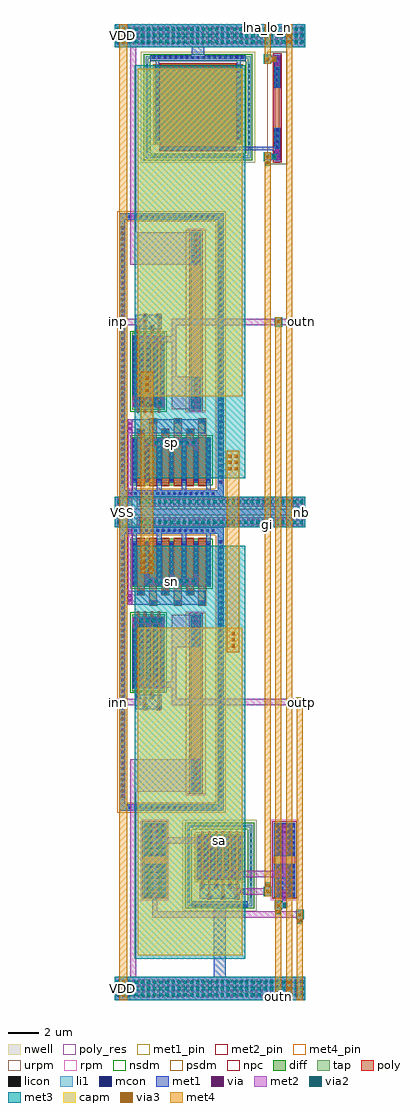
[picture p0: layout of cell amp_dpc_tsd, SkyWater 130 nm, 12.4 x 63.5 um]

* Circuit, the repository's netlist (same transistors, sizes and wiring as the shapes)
* amp_dpc_tsd: amp_dpc_ts with taps edge
* amp_dpc_ts: amp_dpc_t (layout/ref/amp_dpc_t.spice) + lna_shunt (a = outp, b = outn, g = lna_lo_n), the shunt as layout/gen/lna_chain.py writes it (amp_dpc_shunt_tall.py)
.subckt amp_dpc_tsd inp inn nb outp outn VDD VSS lna_lo_n
*.PININFO VDD:B VSS:B nb:B inp:B inn:B outp:B outn:B
XRl_p outn VDD VSS sky130_fd_pr__res_high_po_0p69 L=7.37736 mult=1
XMp outn inp sp VSS sky130_fd_pr__nfet_01v8 L=0.15 W=20 nf=4
XMtail_p sp nb VSS VSS sky130_fd_pr__nfet_01v8 L=0.5 W=6 nf=2 m=3
XRl_n outp VDD VSS sky130_fd_pr__res_high_po_0p69 L=7.37736 mult=1
XMn outp inn sn VSS sky130_fd_pr__nfet_01v8 L=0.15 W=20 nf=4
XMtail_n sn nb VSS VSS sky130_fd_pr__nfet_01v8 L=0.5 W=6 nf=2 m=3
XCs_a sn sp sky130_fd_pr__cap_mim_m3_1 W=6.8 L=21.33
XCs_b sp sn sky130_fd_pr__cap_mim_m3_1 W=6.8 L=21.33
XRh_a sa outp VSS sky130_fd_pr__res_high_po_1p41 L=0.62 mult=1
XRh_b outn sb VSS sky130_fd_pr__res_high_po_1p41 L=0.62 mult=1
XMsw sb gi sa VDD sky130_fd_pr__pfet_01v8 L=0.15 W=18 nf=6
XRg lna_lo_n gi VSS sky130_fd_pr__res_xhigh_po_0p35 L=2.71039 mult=1
XMcap VDD gi VDD VDD sky130_fd_pr__pfet_01v8 L=5 W=5 nf=1
.ends

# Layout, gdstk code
import gdstk
lib = gdstk.Library(unit=1e-6, precision=1e-09)
def R(c, l, rs):  # rectangles x0, y0, x1, y1
    for r in rs: c.add(gdstk.rectangle(r[:2], r[2:], *l))
def A(c, l, x, y, w, h, nx, ny, dx, dy):  # array of equal rectangles
    R(c, l, [(x+i*dx, y+j*dy, x+i*dx+w, y+j*dy+h) for i in range(nx) for j in range(ny)])
def P(c, l, *ps):  # polygons
    for p in ps: c.add(gdstk.Polygon(p, *l))
nwell = (64, 20)
diff = (65, 20)
tap = (65, 44)
poly_res = (66, 13)
poly = (66, 20)
licon = (66, 44)
li1 = (67, 20)
mcon = (67, 44)
met1_pin = (68, 16)
met1 = (68, 20)
via = (68, 44)
met2_pin = (69, 16)
met2 = (69, 20)
via2 = (69, 44)
met3 = (70, 20)
via3 = (70, 44)
met4_pin = (71, 16)
met4 = (71, 20)
urpm = (79, 20)
rpm = (86, 20)
capm = (89, 44)
nsdm = (93, 44)
psdm = (94, 20)
npc = (95, 20)

amp_dpc_tsd = lib.new_cell('amp_dpc_tsd')
R(amp_dpc_tsd, nwell, [(4.41,5.79,9.25,11.72), (1.7,54.47,9.14,61.7)])
R(amp_dpc_tsd, diff, [(5.33,7.775,8.33,10.775), (1.15,20.1,3.25,25.1), (1.15,26.88,6.25,29.88), (1.15,33.62,6.25,36.62), (1.15,38.4,3.25,43.4), (2.62,55.755,8.22,60.755)])
P(amp_dpc_tsd, tap, [(0.3,32.75),(0.3,50.78),(0.7,50.78),(0.7,33.15),(6.7,33.15),(6.7,50.78),(0.3,50.78),(0.3,51.18),(7.1,51.18),(7.1,32.75)],
  [(0.3,12.32),(0.3,30.35),(0.7,30.35),(0.7,12.72),(6.7,12.72),(6.7,30.35),(0.3,30.35),(0.3,30.75),(7.1,30.75),(7.1,12.32)],
  [(4.715,6.095),(4.715,11.245),(4.885,11.245),(4.885,6.265),(8.775,6.265),(8.775,11.245),(4.715,11.245),(4.715,11.415),(8.945,11.415),(8.945,6.095)],
  [(2.005,54.775),(2.005,61.225),(2.175,61.225),(2.175,54.945),(8.665,54.945),(8.665,61.225),(2.005,61.225),(2.005,61.395),(8.835,61.395),(8.835,54.775)])
R(amp_dpc_tsd, poly_res, [(1.9,8.8,3.31,9.42), (10.35,8.8,11.76,9.42), (4.94,15.62,5.63,23), (4.94,40.5,5.63,47.88), (10.4,56.69,10.75,59.4)])
A(amp_dpc_tsd, poly, 6.02, 6.545, 0.27, 0.33, 3, 1, 0.9, 0)
A(amp_dpc_tsd, poly, 6.08, 6.875, 0.15, 4.1, 3, 1, 0.9, 0)
A(amp_dpc_tsd, poly, 5.57, 7.245, 0.27, 0.33, 3, 1, 0.9, 0)
A(amp_dpc_tsd, poly, 5.63, 7.575, 0.15, 3.4, 3, 1, 0.9, 0)
A(amp_dpc_tsd, poly, 2.25, 25.65, 0.5, 0.33, 3, 2, 1.6, 11.87)
A(amp_dpc_tsd, poly, 2.25, 25.98, 0.5, 4.1, 3, 2, 1.6, 7.44)
A(amp_dpc_tsd, poly, 1.45, 26.35, 0.5, 0.33, 3, 2, 1.6, 10.47)
A(amp_dpc_tsd, poly, 1.45, 26.68, 0.5, 3.4, 3, 2, 1.6, 6.74)
R(amp_dpc_tsd, poly, [(1.9,6.7,3.31,11.52), (10.35,6.7,11.76,11.52), (4.94,13.52,5.63,25.1), (1.84,18.87,2.11,19.2), (2.74,18.87,3.01,19.2), (1.9,19.2,2.05,25.3), (2.8,19.2,2.95,25.3), (1.39,19.57,1.66,19.9), (2.29,19.57,2.56,19.9), (1.45,19.9,1.6,25.3), (2.35,19.9,2.5,25.3), (1.45,38.2,1.6,43.6), (1.9,38.2,2.05,44.3), (2.35,38.2,2.5,43.6), (2.8,38.2,2.95,44.3), (4.94,38.4,5.63,49.98), (1.39,43.6,1.66,43.93), (2.29,43.6,2.56,43.93), (1.84,44.3,2.11,44.63), (2.74,44.3,3.01,44.63), (10.4,54.59,10.75,61.5), (2.92,55.225,7.92,55.555), (2.92,55.555,7.92,60.955)])
A(amp_dpc_tsd, licon, 5.125, 6.095, 0.17, 0.17, 10, 2, 0.36, 5.15)
A(amp_dpc_tsd, licon, 6.07, 6.625, 0.17, 0.17, 3, 1, 0.9, 0)
A(amp_dpc_tsd, licon, 4.715, 6.69, 0.17, 0.17, 1, 12, 0, 0.36)
A(amp_dpc_tsd, licon, 8.775, 6.69, 0.17, 0.17, 1, 12, 0, 0.36)
A(amp_dpc_tsd, licon, 5.62, 7.325, 0.17, 0.17, 3, 1, 0.9, 0)
A(amp_dpc_tsd, licon, 5.395, 7.93, 0.17, 0.17, 4, 8, 0.45, 0.36)
A(amp_dpc_tsd, licon, 7.19, 7.93, 0.17, 0.17, 1, 8, 0, 0.36)
A(amp_dpc_tsd, licon, 7.64, 7.93, 0.17, 0.17, 1, 8, 0, 0.36)
A(amp_dpc_tsd, licon, 8.095, 7.93, 0.17, 0.17, 1, 8, 0, 0.36)
A(amp_dpc_tsd, licon, 0.915, 12.435, 0.17, 0.17, 16, 2, 0.36, 18.03)
A(amp_dpc_tsd, licon, 0.415, 13.17, 0.17, 0.17, 1, 47, 0, 0.36)
A(amp_dpc_tsd, licon, 6.815, 13.17, 0.17, 0.17, 1, 47, 0, 0.36)
A(amp_dpc_tsd, licon, 1.215, 20.355, 0.17, 0.17, 5, 13, 0.45, 0.36)
A(amp_dpc_tsd, licon, 2.415, 25.73, 0.17, 0.17, 3, 2, 1.6, 11.87)
A(amp_dpc_tsd, licon, 1.615, 26.43, 0.17, 0.17, 3, 2, 1.6, 10.47)
A(amp_dpc_tsd, licon, 1.215, 27.035, 0.17, 0.17, 7, 8, 0.8, 0.36)
A(amp_dpc_tsd, licon, 0.915, 32.865, 0.17, 0.17, 16, 2, 0.36, 18.03)
A(amp_dpc_tsd, licon, 0.415, 33.6, 0.17, 0.17, 1, 47, 0, 0.36)
A(amp_dpc_tsd, licon, 6.815, 33.6, 0.17, 0.17, 1, 47, 0, 0.36)
A(amp_dpc_tsd, licon, 1.215, 33.775, 0.17, 0.17, 7, 8, 0.8, 0.36)
A(amp_dpc_tsd, licon, 1.215, 38.655, 0.17, 0.17, 5, 13, 0.45, 0.36)
A(amp_dpc_tsd, licon, 2.455, 54.775, 0.17, 0.17, 17, 2, 0.36, 6.45)
A(amp_dpc_tsd, licon, 2.005, 55.3, 0.17, 0.17, 1, 16, 0, 0.36)
A(amp_dpc_tsd, licon, 8.665, 55.3, 0.17, 0.17, 1, 16, 0, 0.36)
A(amp_dpc_tsd, licon, 2.995, 55.305, 0.17, 0.17, 14, 1, 0.36, 0)
A(amp_dpc_tsd, licon, 2.685, 56.01, 0.17, 0.17, 1, 13, 0, 0.36)
A(amp_dpc_tsd, licon, 7.985, 56.01, 0.17, 0.17, 1, 13, 0, 0.36)
R(amp_dpc_tsd, licon, [(2.155,6.78,2.345,8.78), (2.865,6.78,3.055,8.78), (10.605,6.78,10.795,8.78), (11.315,6.78,11.505,8.78), (2.155,9.44,2.345,11.44), (2.865,9.44,3.055,11.44), (10.605,9.44,10.795,11.44), (11.315,9.44,11.505,11.44), (5.19,13.6,5.38,15.6), (1.89,18.95,2.06,19.12), (2.79,18.95,2.96,19.12), (1.44,19.65,1.61,19.82), (2.34,19.65,2.51,19.82), (5.19,23.02,5.38,25.02), (5.19,38.48,5.38,40.48), (1.44,43.68,1.61,43.85), (2.34,43.68,2.51,43.85), (1.89,44.38,2.06,44.55), (2.79,44.38,2.96,44.55), (5.19,47.9,5.38,49.9), (10.48,54.67,10.67,56.67), (10.48,59.42,10.67,61.42)])
A(amp_dpc_tsd, li1, 5.99, 6.625, 0.33, 0.17, 3, 1, 0.9, 0)
A(amp_dpc_tsd, li1, 5.54, 7.325, 0.33, 0.17, 3, 1, 0.9, 0)
A(amp_dpc_tsd, li1, 5.395, 7.85, 0.17, 2.85, 4, 1, 0.45, 0)
A(amp_dpc_tsd, li1, 1.215, 20.275, 0.17, 4.65, 5, 2, 0.45, 18.3)
A(amp_dpc_tsd, li1, 2.335, 25.73, 0.33, 0.17, 3, 2, 1.6, 11.87)
A(amp_dpc_tsd, li1, 1.535, 26.43, 0.33, 0.17, 3, 2, 1.6, 10.47)
A(amp_dpc_tsd, li1, 1.215, 26.955, 0.17, 2.85, 7, 2, 0.8, 6.74)
R(amp_dpc_tsd, li1, [(1.9,6.7,3.31,8.86), (10.35,6.7,11.76,8.86), (7.19,7.85,7.36,10.7), (7.64,7.85,7.81,10.7), (8.095,7.85,8.265,10.7), (1.9,9.36,3.31,11.52), (10.35,9.36,11.76,11.52), (4.94,13.52,5.63,15.68), (1.81,18.95,2.14,19.12), (2.71,18.95,3.04,19.12), (1.36,19.65,1.69,19.82), (2.26,19.65,2.59,19.82), (4.94,22.94,5.63,25.1), (4.94,38.4,5.63,40.56), (1.36,43.68,1.69,43.85), (2.26,43.68,2.59,43.85), (1.81,44.38,2.14,44.55), (2.71,44.38,3.04,44.55), (4.94,47.82,5.63,49.98), (10.4,54.59,10.75,56.75), (2.915,55.305,7.925,55.475), (2.685,55.93,2.855,60.58), (7.985,55.93,8.155,60.58), (10.4,59.34,10.75,61.5)])
P(amp_dpc_tsd, li1, [(0.3,32.75),(0.3,50.78),(0.7,50.78),(0.7,33.15),(6.7,33.15),(6.7,50.78),(0.3,50.78),(0.3,51.18),(7.1,51.18),(7.1,32.75)],
  [(0.3,12.32),(0.3,30.35),(0.7,30.35),(0.7,12.72),(6.7,12.72),(6.7,30.35),(0.3,30.35),(0.3,30.75),(7.1,30.75),(7.1,12.32)],
  [(4.715,6.095),(4.715,11.245),(4.885,11.245),(4.885,6.265),(8.775,6.265),(8.775,11.245),(4.715,11.245),(4.715,11.415),(8.945,11.415),(8.945,6.095)],
  [(2.005,54.775),(2.005,61.225),(2.175,61.225),(2.175,54.945),(8.665,54.945),(8.665,61.225),(2.005,61.225),(2.005,61.395),(8.835,61.395),(8.835,54.775)])
A(amp_dpc_tsd, mcon, 5.125, 6.095, 0.17, 0.17, 10, 1, 0.36, 0)
A(amp_dpc_tsd, mcon, 6.07, 6.625, 0.17, 0.17, 3, 1, 0.9, 0)
A(amp_dpc_tsd, mcon, 1.98, 6.795, 0.17, 0.17, 4, 6, 0.36, 0.36)
A(amp_dpc_tsd, mcon, 10.43, 6.795, 0.17, 0.17, 4, 6, 0.36, 0.36)
A(amp_dpc_tsd, mcon, 5.62, 7.325, 0.17, 0.17, 3, 1, 0.9, 0)
A(amp_dpc_tsd, mcon, 5.395, 7.93, 0.17, 0.17, 4, 8, 0.45, 0.36)
A(amp_dpc_tsd, mcon, 7.19, 7.93, 0.17, 0.17, 1, 8, 0, 0.36)
A(amp_dpc_tsd, mcon, 7.64, 7.93, 0.17, 0.17, 1, 8, 0, 0.36)
A(amp_dpc_tsd, mcon, 8.095, 7.93, 0.17, 0.17, 1, 8, 0, 0.36)
A(amp_dpc_tsd, mcon, 1.98, 9.45, 0.17, 0.17, 4, 6, 0.36, 0.36)
A(amp_dpc_tsd, mcon, 10.43, 9.45, 0.17, 0.17, 4, 6, 0.36, 0.36)
A(amp_dpc_tsd, mcon, 0.915, 12.435, 0.17, 0.17, 16, 2, 0.36, 18.03)
A(amp_dpc_tsd, mcon, 0.415, 13.17, 0.17, 0.17, 1, 47, 0, 0.36)
A(amp_dpc_tsd, mcon, 6.815, 13.17, 0.17, 0.17, 1, 47, 0, 0.36)
A(amp_dpc_tsd, mcon, 5.02, 13.615, 0.17, 0.17, 1, 6, 0, 0.36)
A(amp_dpc_tsd, mcon, 5.38, 13.615, 0.17, 0.17, 1, 6, 0, 0.36)
A(amp_dpc_tsd, mcon, 1.215, 20.355, 0.17, 0.17, 5, 13, 0.45, 0.36)
A(amp_dpc_tsd, mcon, 5.02, 23.03, 0.17, 0.17, 1, 6, 0, 0.36)
A(amp_dpc_tsd, mcon, 5.38, 23.03, 0.17, 0.17, 1, 6, 0, 0.36)
A(amp_dpc_tsd, mcon, 2.415, 25.73, 0.17, 0.17, 3, 2, 1.6, 11.87)
A(amp_dpc_tsd, mcon, 1.615, 26.43, 0.17, 0.17, 3, 2, 1.6, 10.47)
A(amp_dpc_tsd, mcon, 1.215, 27.035, 0.17, 0.17, 7, 8, 0.8, 0.36)
A(amp_dpc_tsd, mcon, 0.915, 32.865, 0.17, 0.17, 16, 2, 0.36, 18.03)
A(amp_dpc_tsd, mcon, 0.415, 33.6, 0.17, 0.17, 1, 47, 0, 0.36)
A(amp_dpc_tsd, mcon, 6.815, 33.6, 0.17, 0.17, 1, 47, 0, 0.36)
A(amp_dpc_tsd, mcon, 1.215, 33.775, 0.17, 0.17, 7, 8, 0.8, 0.36)
A(amp_dpc_tsd, mcon, 5.02, 38.5, 0.17, 0.17, 1, 6, 0, 0.36)
A(amp_dpc_tsd, mcon, 5.38, 38.5, 0.17, 0.17, 1, 6, 0, 0.36)
A(amp_dpc_tsd, mcon, 1.215, 38.655, 0.17, 0.17, 5, 13, 0.45, 0.36)
A(amp_dpc_tsd, mcon, 5.02, 47.915, 0.17, 0.17, 1, 6, 0, 0.36)
A(amp_dpc_tsd, mcon, 5.38, 47.915, 0.17, 0.17, 1, 6, 0, 0.36)
A(amp_dpc_tsd, mcon, 10.49, 54.685, 0.17, 0.17, 1, 6, 0, 0.36)
A(amp_dpc_tsd, mcon, 2.995, 55.305, 0.17, 0.17, 14, 1, 0.36, 0)
A(amp_dpc_tsd, mcon, 2.685, 56.01, 0.17, 0.17, 1, 13, 0, 0.36)
A(amp_dpc_tsd, mcon, 7.985, 56.01, 0.17, 0.17, 1, 13, 0, 0.36)
A(amp_dpc_tsd, mcon, 10.49, 59.43, 0.17, 0.17, 1, 6, 0, 0.36)
A(amp_dpc_tsd, mcon, 2.455, 61.225, 0.17, 0.17, 17, 1, 0.36, 0)
R(amp_dpc_tsd, mcon, [(1.89,18.95,2.06,19.12), (2.79,18.95,2.96,19.12), (1.44,19.65,1.61,19.82), (2.34,19.65,2.51,19.82), (1.44,43.68,1.61,43.85), (2.34,43.68,2.51,43.85), (1.89,44.38,2.06,44.55), (2.79,44.38,2.96,44.55)])
R(amp_dpc_tsd, met1_pin, [(0,0,1,1.5), (0,30.75,1,32.75), (0,62,1,63.5)])
A(amp_dpc_tsd, met1, 5.365, 7.87, 0.23, 2.81, 4, 1, 0.45, 0)
A(amp_dpc_tsd, met1, 1.185, 20.295, 0.23, 4.61, 5, 2, 0.45, 18.3)
A(amp_dpc_tsd, met1, 1.17, 24.21, 0.26, 0.64, 3, 2, 0.9, 14.44)
A(amp_dpc_tsd, met1, 1.15, 24.48, 0.3, 0.42, 3, 2, 0.9, 14.12)
A(amp_dpc_tsd, met1, 2.315, 25.7, 0.37, 0.23, 3, 2, 1.6, 11.87)
A(amp_dpc_tsd, met1, 1.515, 26.4, 0.37, 0.23, 3, 2, 1.6, 10.47)
A(amp_dpc_tsd, met1, 1.15, 26.975, 0.3, 3.385, 4, 2, 1.6, 6.165)
A(amp_dpc_tsd, met1, 1.185, 26.975, 0.23, 2.81, 7, 2, 0.8, 6.74)
A(amp_dpc_tsd, met1, 1.95, 27.03, 0.3, 0.42, 3, 2, 1.6, 9.02)
A(amp_dpc_tsd, met1, 1.97, 27.08, 0.26, 0.64, 3, 2, 1.6, 8.7)
R(amp_dpc_tsd, met1, [(0,0,12.4,1.5), (6.43,1.49,7.23,6.425), (5.015,6.035,8.645,6.425), (2.475,6.5,2.735,7.14), (10.925,6.5,11.185,7.14), (5.52,6.595,8.135,7.525), (5.97,6.595,6.34,6.825), (6.87,6.595,7.235,6.825), (7.77,6.595,8.135,6.825), (1.9,6.73,3.31,8.835), (1.95,6.73,3.26,8.835), (10.35,6.73,11.76,8.835), (10.4,6.73,11.71,8.835), (7.775,6.93,8.415,7.19), (5.52,7.295,5.89,7.525), (6.42,7.295,6.785,7.525), (7.32,7.295,7.685,7.525), (7.16,7.87,7.39,10.68), (7.61,7.87,7.84,10.68), (8.065,7.87,8.295,10.68), (5.78,7.975,6.08,8.395), (6.68,7.975,6.98,8.395), (7.575,7.975,7.875,8.395), (5.8,8.025,6.06,8.665), (6.7,8.025,6.96,8.665), (7.595,8.025,7.855,8.665), (1.9,9.385,3.31,11.49), (1.95,9.385,3.26,11.49), (10.35,9.385,11.76,11.49), (10.4,9.385,11.71,11.49), (5.35,9.885,5.61,10.525), (6.25,9.885,6.51,10.525), (7.145,9.885,7.405,10.525), (8.05,9.885,8.31,10.525), (5.33,10.155,5.63,10.575), (6.23,10.155,6.53,10.575), (7.125,10.155,7.425,10.575), (8.03,10.155,8.33,10.575), (2.475,10.76,2.735,11.4), (10.925,10.76,11.185,11.4), (4.99,13.555,5.58,15.655), (5.035,13.555,5.535,15.655), (1.34,18.92,3.055,19.85), (1.79,18.92,2.16,19.15), (2.69,18.92,3.055,19.15), (1.43,19.255,2.07,19.515), (1.34,19.62,1.71,19.85), (2.24,19.62,2.605,19.85), (1.6,20.3,1.9,20.72), (2.5,20.3,2.8,20.72), (1.62,20.35,1.88,20.99), (2.52,20.35,2.78,20.99), (4.99,22.965,5.58,25.065), (5.035,22.965,5.535,25.065), (0.85,25.7,5.885,26.63), (0,30.75,12.4,32.75), (0.85,36.87,5.885,37.8), (4.99,38.435,5.58,40.535), (5.035,38.435,5.535,40.535), (1.62,42.51,1.88,43.15), (2.52,42.51,2.78,43.15), (1.6,42.78,1.9,43.2), (2.5,42.78,2.8,43.2), (1.34,43.65,1.71,43.88), (1.34,43.65,3.055,44.58), (2.24,43.65,2.605,43.88), (1.43,43.985,2.07,44.245), (1.79,44.35,2.16,44.58), (2.69,44.35,3.055,44.58), (4.99,47.845,5.58,49.945), (5.035,47.845,5.535,49.945), (10.375,54.62,10.775,56.725), (10.425,54.62,10.725,56.725), (10.45,54.62,10.7,56.725), (10.445,54.71,10.705,55.35), (2.935,55.275,7.905,55.505), (2.935,55.275,10.725,55.505), (2.655,55.95,2.885,60.56), (7.955,55.95,8.185,60.56), (10.375,59.365,10.775,61.47), (10.45,59.365,10.7,61.47), (2.655,60.46,2.885,61.455), (7.955,60.46,8.185,61.455), (10.445,60.74,10.705,61.38), (2.305,61.065,8.535,61.455), (5.02,61.065,5.82,62.01), (0,62,12.4,63.5)])
P(amp_dpc_tsd, met1, [(0.3,32.75),(0.3,50.78),(0.7,50.78),(0.7,33.15),(6.7,33.15),(6.7,50.78),(0.3,50.78),(0.3,51.18),(7.1,51.18),(7.1,32.75)],
  [(0.3,12.32),(0.3,30.35),(0.7,30.35),(0.7,12.72),(6.7,12.72),(6.7,30.35),(0.3,30.35),(0.3,30.75),(7.1,30.75),(7.1,12.32)])
A(amp_dpc_tsd, via, 0.205, 0.195, 0.15, 0.15, 38, 4, 0.32, 0.32)
A(amp_dpc_tsd, via, 5.21, 13.73, 0.15, 0.15, 1, 6, 0, 0.32)
A(amp_dpc_tsd, via, 5.21, 23.14, 0.15, 0.15, 1, 6, 0, 0.32)
A(amp_dpc_tsd, via, 1.225, 24.295, 0.15, 0.15, 3, 2, 0.9, 0.32)
A(amp_dpc_tsd, via, 2.025, 27.165, 0.15, 0.15, 3, 2, 1.6, 0.32)
A(amp_dpc_tsd, via, 1.57, 30.845, 0.15, 0.15, 34, 2, 0.32, 0.32)
A(amp_dpc_tsd, via, 1.57, 32.185, 0.15, 0.15, 34, 2, 0.32, 0.32)
A(amp_dpc_tsd, via, 2.025, 35.865, 0.15, 0.15, 3, 2, 1.6, 0.32)
A(amp_dpc_tsd, via, 5.21, 38.61, 0.15, 0.15, 1, 6, 0, 0.32)
A(amp_dpc_tsd, via, 1.225, 38.735, 0.15, 0.15, 3, 2, 0.9, 0.32)
A(amp_dpc_tsd, via, 5.21, 48.02, 0.15, 0.15, 1, 6, 0, 0.32)
A(amp_dpc_tsd, via, 0.205, 62.195, 0.15, 0.15, 38, 4, 0.32, 0.32)
R(amp_dpc_tsd, via, [(2.53,6.585,2.68,6.735), (10.98,6.585,11.13,6.735), (2.53,6.905,2.68,7.055), (10.98,6.905,11.13,7.055), (7.86,6.985,8.01,7.135), (8.18,6.985,8.33,7.135), (5.855,8.11,6.005,8.26), (6.755,8.11,6.905,8.26), (7.65,8.11,7.8,8.26), (5.855,8.43,6.005,8.58), (6.755,8.43,6.905,8.58), (7.65,8.43,7.8,8.58), (5.405,9.97,5.555,10.12), (6.305,9.97,6.455,10.12), (7.2,9.97,7.35,10.12), (8.105,9.97,8.255,10.12), (5.405,10.29,5.555,10.44), (6.305,10.29,6.455,10.44), (7.2,10.29,7.35,10.44), (8.105,10.29,8.255,10.44), (2.53,10.845,2.68,10.995), (10.98,10.845,11.13,10.995), (2.53,11.165,2.68,11.315), (10.98,11.165,11.13,11.315), (1.515,19.31,1.665,19.46), (1.835,19.31,1.985,19.46), (1.675,20.435,1.825,20.585), (2.575,20.435,2.725,20.585), (1.675,20.755,1.825,20.905), (2.575,20.755,2.725,20.905), (0.925,25.93,1.075,26.08), (0.925,26.25,1.075,26.4), (0.2,30.845,0.35,30.995), (0.2,31.165,0.35,31.315), (0.2,32.185,0.35,32.335), (0.2,32.505,0.35,32.655), (0.925,37.1,1.075,37.25), (0.925,37.42,1.075,37.57), (1.675,42.595,1.825,42.745), (2.575,42.595,2.725,42.745), (1.675,42.915,1.825,43.065), (2.575,42.915,2.725,43.065), (1.515,44.04,1.665,44.19), (1.835,44.04,1.985,44.19), (10.5,54.795,10.65,54.945), (10.5,55.115,10.65,55.265), (10.5,60.825,10.65,60.975), (10.5,61.145,10.65,61.295)])
A(amp_dpc_tsd, met2_pin, 0, 19.185, 0.5, 0.4, 1, 3, 0, 12.365)
A(amp_dpc_tsd, met2_pin, 11.9, 19.185, 0.5, 0.4, 1, 3, 0, 12.365)
A(amp_dpc_tsd, met2, 1.17, 24.21, 0.26, 0.64, 3, 2, 0.9, 14.44)
A(amp_dpc_tsd, met2, 1.97, 27.08, 0.26, 0.64, 3, 2, 1.6, 8.7)
R(amp_dpc_tsd, met2, [(0,0,12.4,1.5), (1,1.49,1.4,15.655), (11.91,4.975,12.19,5.745), (2.455,5.36,2.755,7.18), (2.455,5.36,12.3,5.76), (10.4,5.96,11.205,6.36), (10.905,5.96,11.205,7.18), (10.51,5.975,11.19,6.345), (2.475,6.5,2.735,7.14), (10.925,6.5,11.185,7.14), (7.735,6.86,10.2,7.26), (9.81,6.875,10.09,7.645), (7.775,6.93,8.415,7.19), (5.33,7.975,11.205,8.395), (10.905,7.975,11.205,11.44), (5.8,8.025,6.06,8.665), (6.7,8.025,6.96,8.665), (7.595,8.025,7.855,8.665), (5.35,9.885,5.61,10.525), (6.25,9.885,6.51,10.525), (7.145,9.885,7.405,10.525), (8.05,9.885,8.31,10.525), (2.455,10.155,8.33,10.575), (2.455,10.155,2.755,11.44), (2.475,10.76,2.735,11.4), (10.925,10.76,11.185,11.4), (1,13.555,5.535,15.655), (0,19.185,1.84,19.585), (3.7,19.185,12.4,19.585), (3.7,19.185,4,25.065), (1.43,19.255,2.07,19.515), (1.6,20.3,4,20.72), (1.62,20.35,1.88,20.99), (2.52,20.35,2.78,20.99), (3.7,22.965,5.535,25.065), (1.15,24.48,3.25,24.9), (0.85,25.7,1.15,31.75), (1.95,27.03,5.45,27.45), (0,30.75,0.55,31.41), (1.45,30.75,12.4,31.41), (0,31.55,12.4,31.95), (0.85,31.75,1.15,37.8), (0,32.09,0.55,32.75), (1.45,32.09,12.4,32.75), (1.95,36.05,5.45,36.47), (3.7,38.435,5.535,40.535), (3.7,38.435,4,44.315), (1.15,38.6,3.25,39.02), (1.62,42.51,1.88,43.15), (2.52,42.51,2.78,43.15), (1.6,42.78,4,43.2), (0,43.915,1.84,44.315), (3.7,43.915,12.4,44.315), (1.43,43.985,2.07,44.245), (1,47.845,5.535,49.945), (1,47.845,1.4,62.01), (9.7,54.67,10.725,55.07), (9.81,54.685,10.49,55.055), (10.445,54.71,10.705,55.35), (10.445,60.74,10.705,61.38), (9.7,61.02,10.725,61.42), (10.425,61.02,10.725,61.42), (9.81,61.035,10.49,61.405), (0,62,12.4,63.5)])
A(amp_dpc_tsd, via2, 0.1, 0.25, 0.2, 0.2, 31, 3, 0.4, 0.4)
A(amp_dpc_tsd, via2, 1.625, 24.59, 0.2, 0.2, 4, 2, 0.4, 14.12)
A(amp_dpc_tsd, via2, 2.2, 27.14, 0.2, 0.2, 8, 2, 0.4, 9.02)
A(amp_dpc_tsd, via2, 1.625, 30.98, 0.2, 0.2, 27, 2, 0.4, 1.34)
A(amp_dpc_tsd, via2, 0.1, 62.25, 0.2, 0.2, 31, 3, 0.4, 0.4)
R(amp_dpc_tsd, via2, [(11.95,5.06,12.15,5.26), (11.95,5.46,12.15,5.66), (10.55,6.06,10.75,6.26), (10.95,6.06,11.15,6.26), (9.85,6.96,10.05,7.16), (9.85,7.36,10.05,7.56), (11.95,19.285,12.15,19.485), (0.175,30.98,0.375,31.18), (0.175,32.32,0.375,32.52), (10.55,44.015,10.75,44.215), (9.85,54.77,10.05,54.97), (10.25,54.77,10.45,54.97), (9.85,61.12,10.05,61.32), (10.25,61.12,10.45,61.32)])
R(amp_dpc_tsd, met3, [(0,0,12.4,1.5), (1.3,2.7,8.5,29.55), (11.89,4.97,12.21,5.75), (11.885,4.995,12.215,5.725), (11.8,5.26,12.3,5.86), (10.49,5.57,10.81,6.35), (10.4,5.86,10.9,6.46), (10.485,5.995,11.215,6.325), (9.7,6.76,10.2,7.36), (9.79,6.87,10.11,7.65), (9.785,6.895,10.115,7.625), (11.8,19.085,12.3,19.685), (0,30.75,12.4,32.75), (1.3,33.95,8.5,60.8), (10.4,43.815,10.9,44.415), (9.79,54.28,10.11,55.06), (9.7,54.57,10.2,55.17), (9.785,54.705,10.515,55.035), (9.7,60.92,10.2,61.52), (9.785,61.055,10.515,61.385), (9.76,61.06,10.54,61.38), (0,62,12.4,63.5)])
A(amp_dpc_tsd, via3, 0.45, 0.25, 0.2, 0.2, 1, 3, 0, 0.4)
A(amp_dpc_tsd, via3, 11.25, 0.25, 0.2, 0.2, 1, 3, 0, 0.4)
A(amp_dpc_tsd, via3, 7.6, 22.93, 0.2, 0.2, 1, 3, 0, 0.4)
A(amp_dpc_tsd, via3, 1.8, 28.025, 0.2, 0.2, 1, 3, 0, 0.4)
A(amp_dpc_tsd, via3, 2.2, 28.025, 0.2, 0.2, 1, 3, 0, 0.4)
A(amp_dpc_tsd, via3, 7.4, 34.475, 0.2, 0.2, 1, 3, 0, 0.4)
A(amp_dpc_tsd, via3, 7.8, 34.475, 0.2, 0.2, 1, 3, 0, 0.4)
A(amp_dpc_tsd, via3, 2, 39.57, 0.2, 0.2, 1, 3, 0, 0.4)
A(amp_dpc_tsd, via3, 0.45, 62.25, 0.2, 0.2, 1, 3, 0, 0.4)
A(amp_dpc_tsd, via3, 11.25, 62.25, 0.2, 0.2, 1, 3, 0, 0.4)
R(amp_dpc_tsd, via3, [(11.95,5.06,12.15,5.26), (11.95,5.46,12.15,5.66), (10.55,5.66,10.75,5.86), (10.55,6.06,10.75,6.26), (9.85,6.96,10.05,7.16), (9.85,7.36,10.05,7.56), (11.95,19.285,12.15,19.485), (10.55,44.015,10.75,44.215), (9.85,54.37,10.05,54.57), (9.85,54.77,10.05,54.97), (9.85,61.12,10.05,61.32), (10.25,61.12,10.45,61.32)])
R(amp_dpc_tsd, met4_pin, [(10.45,0,10.85,0.5), (11.85,0,12.25,0.5), (9.75,63,10.15,63.5)])
R(amp_dpc_tsd, met4, [(0.3,0,0.8,63.5), (10.45,0,10.85,44.415), (11.15,0,11.55,63.5), (11.85,0,12.25,19.685), (11.885,4.995,12.215,5.725), (10.485,5.595,10.815,6.325), (9.75,6.76,10.15,55.17), (9.785,6.895,10.115,7.625), (7.3,22.63,8.1,35.75), (1.7,27.75,2.5,40.87), (9.785,54.305,10.115,55.035), (9.75,60.92,10.15,63.5), (9.785,61.055,10.515,61.385)])
R(amp_dpc_tsd, urpm, [(9.94,54.39,11.21,61.7)])
R(amp_dpc_tsd, rpm, [(1.7,6.5,3.51,11.72), (10.15,6.5,11.96,11.72), (4.635,13.32,5.935,25.3), (4.65,13.32,5.92,25.3), (4.635,38.2,5.935,50.18), (4.65,38.2,5.92,50.18)])
R(amp_dpc_tsd, capm, [(1.5,2.9,8.3,24.23), (1.5,39.27,8.3,60.6)])
R(amp_dpc_tsd, nsdm, [(1.025,19.975,3.375,25.225), (1.025,26.755,6.375,30.005), (1.025,33.495,6.375,36.745), (1.025,38.275,3.375,43.525)])
P(amp_dpc_tsd, nsdm, [(4.59,5.97),(4.59,11.12),(5.01,11.12),(5.01,6.39),(8.65,6.39),(8.65,11.12),(4.59,11.12),(4.59,11.54),(9.07,11.54),(9.07,5.97)],
  [(1.88,54.65),(1.88,61.1),(2.3,61.1),(2.3,55.07),(8.54,55.07),(8.54,61.1),(1.88,61.1),(1.88,61.52),(8.96,61.52),(8.96,54.65)])
R(amp_dpc_tsd, psdm, [(1.79,6.59,3.42,11.63), (10.24,6.59,11.87,11.63), (5.205,7.65,8.455,10.9), (4.635,13.41,5.935,25.21), (4.83,13.41,5.74,25.21), (4.635,38.29,5.935,50.09), (4.83,38.29,5.74,50.09), (10.29,54.48,10.86,61.61), (2.495,55.63,8.345,60.88)])
P(amp_dpc_tsd, psdm, [(0.175,32.625),(0.175,50.655),(0.825,50.655),(0.825,33.275),(6.575,33.275),(6.575,50.655),(0.175,50.655),(0.175,51.305),(7.225,51.305),(7.225,32.625)],
  [(0.175,12.195),(0.175,30.225),(0.825,30.225),(0.825,12.845),(6.575,12.845),(6.575,30.225),(0.175,30.225),(0.175,30.875),(7.225,30.875),(7.225,12.195)])
A(amp_dpc_tsd, npc, 6.01, 6.535, 0.29, 0.35, 3, 1, 0.9, 0)
A(amp_dpc_tsd, npc, 5.56, 7.235, 0.29, 0.35, 3, 1, 0.9, 0)
A(amp_dpc_tsd, npc, 2.24, 25.64, 0.52, 0.35, 3, 2, 1.6, 11.87)
A(amp_dpc_tsd, npc, 1.44, 26.34, 0.52, 0.35, 3, 2, 1.6, 10.47)
R(amp_dpc_tsd, npc, [(1.805,6.605,3.405,11.615), (10.255,6.605,11.855,11.615), (4.845,13.43,5.725,25.19), (1.83,18.86,2.12,19.21), (2.73,18.86,3.02,19.21), (1.38,19.56,1.67,19.91), (2.28,19.56,2.57,19.91), (4.845,38.31,5.725,50.07), (1.38,43.59,1.67,43.94), (2.28,43.59,2.57,43.94), (1.83,44.29,2.12,44.64), (2.73,44.29,3.02,44.64), (10.305,54.495,10.845,61.595), (2.91,55.215,7.93,55.565)])
amp_dpc_tsd.add(gdstk.Label('VSS', (0.5,31.75), layer=68, texttype=5))
amp_dpc_tsd.add(gdstk.Label('VDD', (0.5,62.75), layer=68, texttype=5))
amp_dpc_tsd.add(gdstk.Label('VDD', (0.5,0.75), layer=68, texttype=5))
amp_dpc_tsd.add(gdstk.Label('nb', (0.25,31.75), layer=69, texttype=5))
amp_dpc_tsd.add(gdstk.Label('nb', (12.15,31.75), layer=69, texttype=5))
amp_dpc_tsd.add(gdstk.Label('inp', (0.25,44.115), layer=69, texttype=5))
amp_dpc_tsd.add(gdstk.Label('outn', (12.15,44.115), layer=69, texttype=5))
amp_dpc_tsd.add(gdstk.Label('sp', (3.7,36.26), layer=69, texttype=5))
amp_dpc_tsd.add(gdstk.Label('inn', (0.25,19.385), layer=69, texttype=5))
amp_dpc_tsd.add(gdstk.Label('outp', (12.15,19.385), layer=69, texttype=5))
amp_dpc_tsd.add(gdstk.Label('sn', (3.7,27.24), layer=69, texttype=5))
amp_dpc_tsd.add(gdstk.Label('sa', (6.83,10.365), layer=69, texttype=5))
amp_dpc_tsd.add(gdstk.Label('outn', (10.65,0.25), layer=71, texttype=5))
amp_dpc_tsd.add(gdstk.Label('outp', (12.05,0.25), layer=71, texttype=5))
amp_dpc_tsd.add(gdstk.Label('gi', (9.95,30.965), layer=71, texttype=5))
amp_dpc_tsd.add(gdstk.Label('lna_lo_n', (9.95,63.25), layer=71, texttype=5))

lib.write_gds('amp_dpc_tsd.gds')
